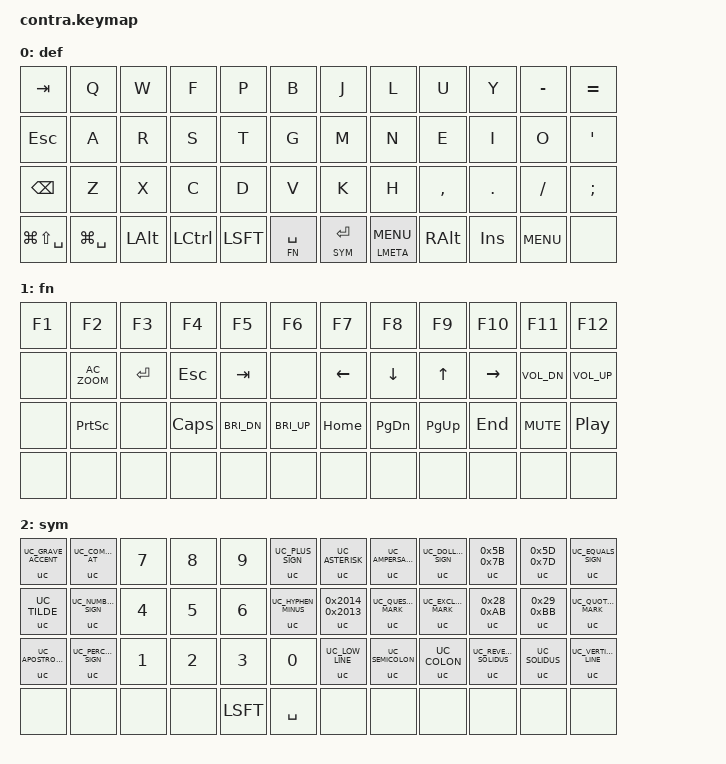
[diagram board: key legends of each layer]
/*
 * Copyright (c) 2021 The ZMK Contributors
 *
 * SPDX-License-Identifier: MIT
 */

#include <behaviors.dtsi>
#include <dt-bindings/zmk/keys.h>
#include <dt-bindings/zmk/bt.h>

#include <behaviors/unicode.dtsi>
#include <zmk-unicode/keys-extra.h> 

#define DEF      0
#define FN       1
#define SYM      2

/ {
    keymap {
        compatible = "zmk,keymap";

        def {
            bindings = <
    &kp TAB         &kp Q       &kp W     &kp F     &kp P     &kp B      &kp J        &kp L            &kp U      &kp Y     &kp MINUS  &kp EQUAL
    &kp ESC         &kp A       &kp R     &kp S     &kp T     &kp G      &kp M        &kp N            &kp E      &kp I     &kp O      &kp SQT
    &kp BSPC        &kp Z       &kp X     &kp C     &kp D     &kp V      &kp K        &kp H            &kp COMMA  &kp DOT   &kp FSLH   &kp SEMI
    &kp LG(LS(SPC)) &kp LG(SPC) &kp LALT  &kp LCTL  &kp LSFT  &lt FN SPC &lt SYM RET  &mt LMETA C_MENU &kp RALT   &kp INS   &kp C_MENU &none
            >;
        };

        fn {
            bindings = <
    &kp F1    &kp F2        &kp F3   &kp F4    &kp F5       &kp F6       &kp F7     &kp F8      &kp F9    &kp F10   &kp F11      &kp F12
    &none     &kp C_AC_ZOOM &kp RET  &kp ESC   &kp TAB      &none        &kp LEFT   &kp DOWN    &kp UP    &kp RIGHT &kp C_VOL_DN &kp C_VOL_UP
    &none     &kp PSCRN     &none    &kp CAPS  &kp C_BRI_DN &kp C_BRI_UP &kp HOME   &kp PG_DN   &kp PG_UP &kp END   &kp C_MUTE   &kp C_PP
    &none     &none         &none    &none     &none        &none        &none      &none       &none     &none     &none        &none
            >;
        };

        sym {
            bindings = <
    &uc UC_GRAVE_ACCENT &uc UC_COMMERCIAL_AT &kp N7  &kp N8  &kp N9    &uc UC_PLUS_SIGN     &uc UC_ASTERISK   &uc UC_AMPERSAND     &uc UC_DOLLAR_SIGN      &uc 0x5B 0x7B          &uc 0x5D 0x7D  &uc UC_EQUALS_SIGN
    &uc UC_TILDE        &uc UC_NUMBER_SIGN   &kp N4  &kp N5  &kp N6    &uc UC_HYPHEN_MINUS &uc 0x2014 0x2013 &uc UC_QUESTION_MARK &uc UC_EXCLAMATION_MARK &uc 0x28 0xAB          &uc 0x29 0xBB  &uc UC_QUOTATION_MARK
    &uc UC_APOSTROPHE   &uc UC_PERCENT_SIGN  &kp N1  &kp N2  &kp N3    &kp N0              &uc UC_LOW_LINE   &uc UC_SEMICOLON     &uc UC_COLON            &uc UC_REVERSE_SOLIDUS &uc UC_SOLIDUS &uc UC_VERTICAL_LINE
    &none               &none                &none   &none   &kp LSFT  &kp SPC      &none             &none                &none                   &none                  &none          &none
            >;
        };
    };
};
